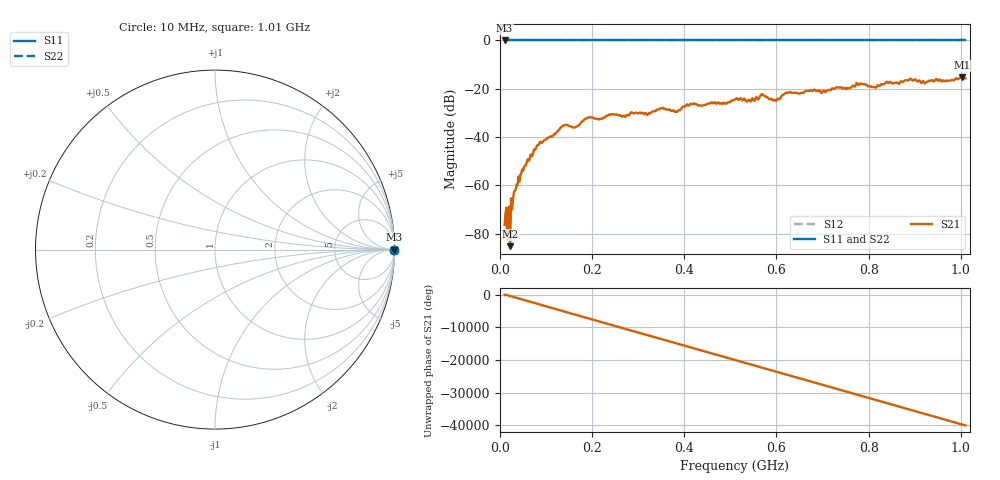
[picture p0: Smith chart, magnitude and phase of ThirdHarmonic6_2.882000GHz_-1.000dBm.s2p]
! 8/17/2025 7:54:38 AM
! C:\ANRITSUVNA\TEMP\TEMP.S2P
! CHANNEL.1
! TR.MEASUREMENT
! RAW.DATA
! RF.CORRECTION.OFF
! AVERAGING.OFF
! IF.BANDWIDTH: 5KHZ
! SWEEPTYPE:  FREQ.SWEEP(Linear)
! Reference Plane Port Info
! PORT:  PORT1  PORT2
! DISTANCE:  0  m  0  m
! TIME:  0  s  0  s
! PHASE.OFFSET:  0  deg.  0  deg.
! LOSS:  0  dB  0  dB
! REF.LOSS:  0  dB  0  dB
! REF.FREQ:  0  Hz  0  Hz
! Power Info
! POWER:  -20  dBm  -20  dBm
! EFF.POWER:  -20  dBm  -20  dBm
! SOURCE.ATTEN:  0  dB  0  dB
! TEST.ATTEN:  0  dB  0  dB
# GHZ S RI R 50.0
! FREQ.GHZ  S11RE  S11IM  S21RE  S21IM  S12RE  S12IM  S22RE  S22IM
!; PortSelection: Port_12
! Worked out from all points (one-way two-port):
!   501 points, 10 MHz to 1.01 GHz, reference 50 ohm
!   highest |S21| = -15.18 dB at 1.002 GHz (marker M1); lowest = -85.1 dB at 22 MHz (marker M2)
!   lowest |S11| = 0.0 dB at 10 MHz (marker M3)
!   |S11| at or under -10 dB: nowhere
!   |S22| runs from 0.0 to 0.0 dB; largest |S21 - S12| = 1.2
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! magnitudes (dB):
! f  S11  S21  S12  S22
! 10 MHz  0.0  -76.4  0.0  0.0
! 16 MHz  0.0  -82.5  0.0  0.0
! 18 MHz  0.0  -73.5  0.0  0.0
! 22 MHz  0.0  -85.1  0.0  0.0
! 26 MHz  0.0  -70.0  0.0  0.0
! 28 MHz  0.0  -66.2  0.0  0.0
! 44 MHz  0.0  -55.6  0.0  0.0
! 84 MHz  0.0  -43.1  0.0  0.0
! 138 MHz  0.0  -35.1  0.0  0.0
! 162 MHz  0.0  -36.0  0.0  0.0
! 178 MHz  0.0  -33.5  0.0  0.0
! 344 MHz  0.0  -28.6  0.0  0.0
! 382 MHz  0.0  -29.5  0.0  0.0
! 416 MHz  0.0  -26.4  0.0  0.0
! 510 MHz  0.0  -24.4  0.0  0.0
! 570 MHz  0.0  -22.4  0.0  0.0
! 596 MHz  0.0  -24.5  0.0  0.0
! 624 MHz  0.0  -21.6  0.0  0.0
! 678 MHz  0.0  -20.9  0.0  0.0
! 844 MHz  0.0  -17.5  0.0  0.0
! 1.002 GHz  0.0  -15.2  0.0  0.0
! 1.01 GHz  0.0  -15.7  0.0  0.0
